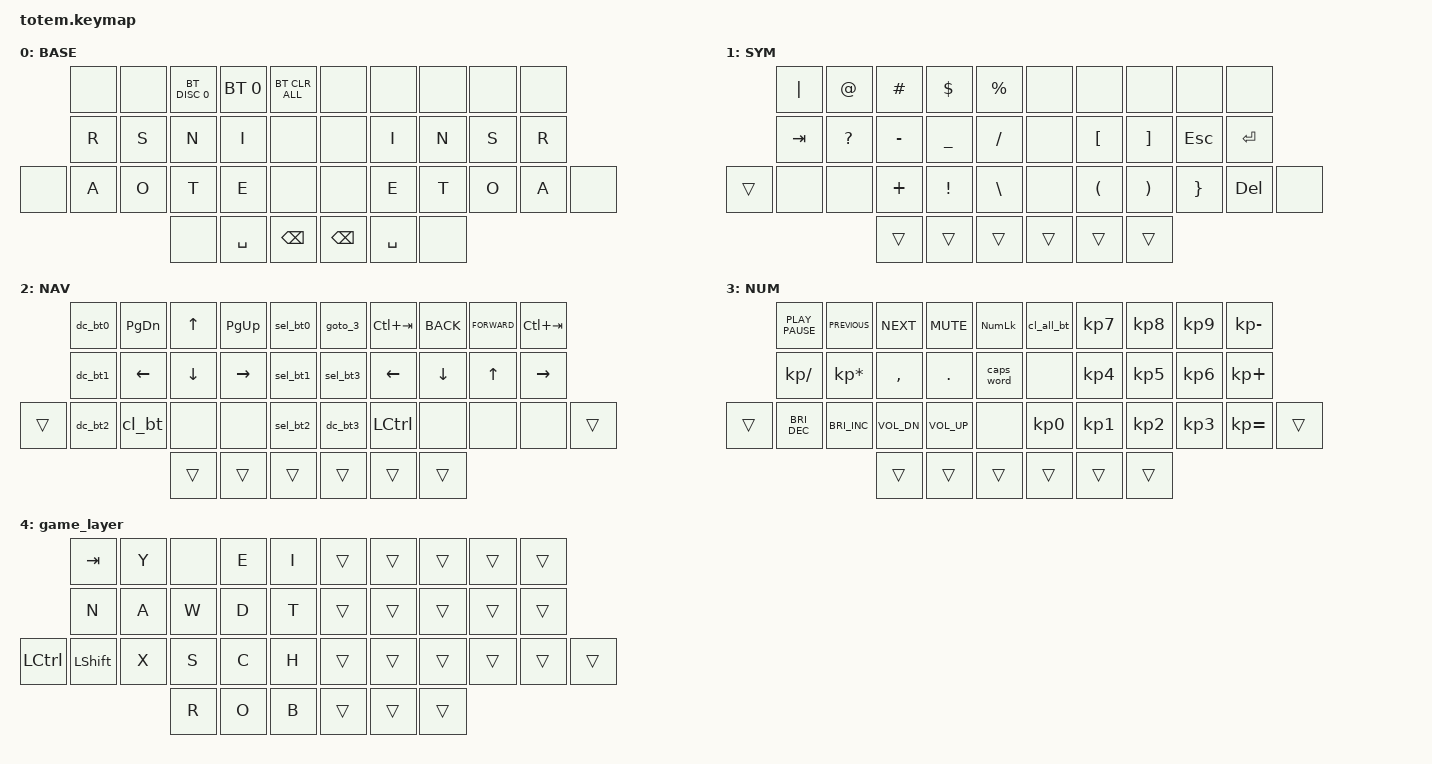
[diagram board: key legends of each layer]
//
//                                                        ▀▀▀▀▀     ▀▀▀▀▀          ▀▀█▀▀
//                                                        ▄▀▀▀▄  ▄  ▄▀▀▀▄  ▄  ▄▀▀▀▄  █  ▄▀▀▀▄
//                                                        █   █  █  █   █  █  █   █  █  █   █
//                                                         ▀▀▀   █   ▀▀▀   █   ▀▀▀   ▀   ▀▀▀
//                                                               █      ▄▄▄█▄▄▄    █   █  
//                                                               ▀      █  █  █     █▄█
//                                                             ▀▀▀▀▀    █  █  █      ▀
//                                                                      ▀  ▀  ▀
//
// ▄▄▄▄▄▄▄▄▄▄▄▄▄▄▄▄▄▄▄▄▄▄▄▄▄▄▄▄▄▄▄▄▄▄▄▄▄▄▄▄▄▄▄▄▄▄▄▄▄▄▄▄▄▄▄▄▄▄▄▄▄▄▄▄▄▄▄▄▄▄▄▄▄▄▄▄▄▄▄▄▄▄▄▄▄▄▄▄▄▄▄▄▄▄▄▄▄▄▄▄▄▄▄▄▄▄▄▄▄▄▄▄▄▄▄▄▄▄▄▄▄▄▄▄▄▄▄▄▄▄▄▄▄▄▄▄▄▄▄▄▄▄▄▄▄▄▄▄▄

#include <behaviors.dtsi>
#include <dt-bindings/zmk/bt.h>
#include <dt-bindings/zmk/keys.h>

#define BASE 0
#define NAV  1
#define SYM  2
#define ADJ  3
#define TVP1 4
#define TVP2 5

&mt {
    flavor = "tap-preferred";
    tapping-term-ms = <230>;
    quick-tap-ms = <0>;
    require-prior-idle-ms = <120>;
};

/ {
    combos {
        compatible = "zmk,combos";

        cr_y {
            bindings = <&kp Y>;
            key-positions = <16 17>;
            layers = <0>;
        };

        cr_b {
            bindings = <&kp B>;
            key-positions = <18 19>;
            layers = <0>;
        };

        cr_h {
            bindings = <&kp H>;
            key-positions = <27 28>;
            layers = <0>;
        };

        cr_l {
            bindings = <&kp L>;
            key-positions = <29 30>;
            layers = <0>;
        };

        cr_u {
            bindings = <&kp U>;
            key-positions = <28 29>;
            layers = <0>;
        };

        cr_p {
            bindings = <&kp P>;
            key-positions = <17 18>;
            layers = <0>;
        };

        cr_d {
            bindings = <&kp D>;
            key-positions = <27 30>;
            layers = <0>;
        };

        cr_g {
            bindings = <&kp G>;
            key-positions = <16 19>;
            layers = <0>;
        };

        cr_f {
            bindings = <&kp F>;
            key-positions = <16 18>;
            layers = <0>;
        };

        cr_z {
            bindings = <&kp Z>;
            key-positions = <19 17>;
            layers = <0>;
        };

        cr_c {
            bindings = <&kp C>;
            key-positions = <27 29>;
            layers = <0>;
        };

        cr_q {
            bindings = <&kp Q>;
            key-positions = <30 28>;
            layers = <0>;
        };

        cr_k {
            bindings = <&kp K>;
            key-positions = <16 29>;
            layers = <0>;
        };

        cr_x {
            bindings = <&kp X>;
            key-positions = <19 28>;
            layers = <0>;
        };

        cr_j {
            bindings = <&kp J>;
            key-positions = <30 17>;
            layers = <0>;
        };

        cr_v {
            bindings = <&kp V>;
            key-positions = <18 27>;
            layers = <0>;
        };

        cr_w {
            bindings = <&kp W>;
            key-positions = <16 30>;
            layers = <0>;
        };

        cr_m {
            bindings = <&kp M>;
            key-positions = <19 27>;
            layers = <0>;
        };

        cr_minus {
            bindings = <&kp MINUS>;
            key-positions = <17 29>;
            layers = <0>;
        };

        cr_slash {
            bindings = <&kp SLASH>;
            key-positions = <28 18>;
            layers = <0>;
        };

        cr_question {
            bindings = <&kp QUESTION>;
            key-positions = <16 28>;
            layers = <0>;
        };

        cr_semi {
            bindings = <&kp SEMICOLON>;
            key-positions = <19 29>;
            layers = <0>;
        };

        cr_apostrophe {
            bindings = <&kp APOSTROPHE>;
            key-positions = <30 18>;
            layers = <0>;
        };

        cr_comma {
            bindings = <&kp COMMA>;
            key-positions = <27 17>;
            layers = <0>;
        };

        cr_tab {
            bindings = <&kp TAB>;
            key-positions = <16 17 18>;
            layers = <0>;
        };

        cr_enter {
            bindings = <&kp ENTER>;
            key-positions = <27 28 29>;
            layers = <0>;
        };

        cl_y {
            bindings = <&kp Y>;
            key-positions = <13 12>;
        };

        cl_b {
            bindings = <&kp B>;
            key-positions = <10 11>;
        };

        cl_h {
            bindings = <&kp H>;
            key-positions = <24 23>;
        };

        cl_l {
            bindings = <&kp L>;
            key-positions = <21 22>;
        };

        cl_u {
            bindings = <&kp U>;
            key-positions = <23 22>;
        };

        cl_p {
            bindings = <&kp P>;
            key-positions = <11 12>;
        };

        cl_d {
            bindings = <&kp D>;
            key-positions = <24 21>;
        };

        cl_g {
            bindings = <&kp G>;
            key-positions = <10 13>;
        };

        cl_f {
            bindings = <&kp F>;
            key-positions = <13 11>;
        };

        cl_z {
            bindings = <&kp Z>;
            key-positions = <10 12>;
        };

        cl_c {
            bindings = <&kp C>;
            key-positions = <24 22>;
        };

        cl_q {
            bindings = <&kp Q>;
            key-positions = <21 23>;
        };

        cl_k {
            bindings = <&kp K>;
            key-positions = <22 13>;
        };

        cl_x {
            bindings = <&kp X>;
            key-positions = <10 23>;
        };

        cl_j {
            bindings = <&kp J>;
            key-positions = <21 12>;
        };

        cl_v {
            bindings = <&kp V>;
            key-positions = <24 11>;
        };

        cl_w {
            bindings = <&kp W>;
            key-positions = <21 13>;
        };

        cl_m {
            bindings = <&kp M>;
            key-positions = <10 24>;
        };

        cl_minus {
            bindings = <&kp MINUS>;
            key-positions = <22 12>;
        };

        cl_slash {
            bindings = <&kp SLASH>;
            key-positions = <23 11>;
        };

        cl_question {
            bindings = <&kp QUESTION>;
            key-positions = <13 23>;
        };

        cl_semi {
            bindings = <&kp SEMICOLON>;
            key-positions = <10 22>;
        };

        cl_apostrophe {
            bindings = <&kp APOSTROPHE>;
            key-positions = <21 11>;
        };

        cl_comma {
            bindings = <&kp COMMA>;
            key-positions = <24 12>;
        };

        cl_tab {
            bindings = <&kp TAB>;
            key-positions = <13 12 11>;
        };

        cl_enter {
            bindings = <&kp ENTER>;
            key-positions = <24 23 22>;
        };
    };

    behaviors {
        sel_bt0: sel_bt0 {
            compatible = "zmk,behavior-mod-morph";
            label = "SEL_BT0";
            bindings = <&none>, <&bt BT_SEL 0>;

            #binding-cells = <0>;
            mods = <(MOD_LCTL)>;
        };

        sel_bt1: sel_bt1 {
            compatible = "zmk,behavior-mod-morph";
            label = "SEL_BT1";
            bindings = <&none>, <&bt BT_SEL 1>;

            #binding-cells = <0>;
            mods = <(MOD_LCTL)>;
        };

        sel_bt2: sel_bt2 {
            compatible = "zmk,behavior-mod-morph";
            label = "SEL_BT2";
            bindings = <&none>, <&bt BT_SEL 2>;

            #binding-cells = <0>;
            mods = <(MOD_LCTL)>;
        };

        dc_bt0: dc_bt0 {
            compatible = "zmk,behavior-mod-morph";
            label = "DC_BT0";
            bindings = <&none>, <&bt BT_DISC 0>;

            #binding-cells = <0>;
            mods = <(MOD_LCTL|MOD_LSFT)>;
        };

        dc_bt1: dc_bt1 {
            compatible = "zmk,behavior-mod-morph";
            label = "DC_BT1";
            bindings = <&none>, <&bt BT_DISC 1>;

            #binding-cells = <0>;
            mods = <(MOD_LCTL|MOD_LSFT)>;
        };

        dc_bt2: dc_bt2 {
            compatible = "zmk,behavior-mod-morph";
            label = "DC_BT2";
            bindings = <&none>, <&bt BT_DISC 2>;

            #binding-cells = <0>;
            mods = <(MOD_LCTL|MOD_LSFT)>;
        };

        cl_bt: cl_bt {
            compatible = "zmk,behavior-mod-morph";
            label = "CL_BT";
            bindings = <&none>, <&bt BT_CLR>;

            #binding-cells = <0>;
            mods = <(MOD_LCTL|MOD_LSFT)>;
        };

        sel_bt3: sel_bt3 {
            compatible = "zmk,behavior-mod-morph";
            label = "SEL_BT3";
            bindings = <&none>, <&bt BT_SEL 2>;

            #binding-cells = <0>;
            mods = <(MOD_LCTL)>;
        };

        dc_bt3: dc_bt3 {
            compatible = "zmk,behavior-mod-morph";
            label = "DC_BT3";
            bindings = <&none>, <&bt BT_DISC 2>;

            #binding-cells = <0>;
            mods = <(MOD_LCTL|MOD_LSFT)>;
        };

        goto_3: goto_3 {
            compatible = "zmk,behavior-mod-morph";
            label = "GOTO_3";
            bindings = <&none>, <&bt BT_SEL 3>;

            #binding-cells = <0>;
            mods = <(MOD_LCTL)>;
        };

        cl_all_bt: cl_all_bt {
            compatible = "zmk,behavior-mod-morph";
            label = "CL_ALL_BT";
            bindings = <&none>, <&bt BT_CLR_ALL>;

            #binding-cells = <0>;
            mods = <(MOD_LCTL|MOD_LSFT)>;
        };
    };

    keymap {
        compatible = "zmk,keymap";

        // ▄▄▄▄▄▄▄▄▄▄▄▄▄▄▄▄▄▄▄▄▄▄▄▄▄▄▄▄▄▄▄▄▄▄▄▄▄▄▄▄▄▄▄▄▄▄▄▄▄▄▄▄▄▄▄▄▄▄▄▄▄▄▄▄▄▄▄▄▄▄▄▄▄▄▄▄▄▄▄▄▄▄▄▄▄▄▄▄▄▄▄▄▄▄▄▄▄▄▄▄▄▄▄▄▄▄▄▄▄▄▄▄▄▄▄▄▄▄▄▄▄▄▄▄▄▄▄▄▄▄▄▄▄▄▄▄▄▄▄▄▄▄▄▄▄▄▄▄▄

        base_layer {
            // ┏━━━━━━━━━━━━━━━━━━━━━━━━━━━━━━━━━━━━━━━┓

            label = "BASE";

            // ┗━━━━━━━━━━━━━━━━━━━━━━━━━━━━━━━━━━━━━━━┛
            //             ┏━━━━━━━━━━━┳━━━━━━━━━━━┳━━━━━━━━━━━┳━━━━━━━━━━━┳━━━━━━━━━━━┓   ┏━━━━━━━━━━━┳━━━━━━━━━━━┳━━━━━━━━━━━┳━━━━━━━━━━━┳━━━━━━━━━━━┓
            //             ┃     Q     ┃     W     ┃     F     ┃     P     ┃     G     ┃   ┃     J     ┃     L     ┃     U     ┃     Y     ┃     ;     ┃
            //             ┣━━━━━━━━━━━╋━━━━━━━━━━━╋━━━━━━━━━━━╋━━━━━━━━━━━╋━━━━━━━━━━━┫   ┣━━━━━━━━━━━╋━━━━━━━━━━━╋━━━━━━━━━━━╋━━━━━━━━━━━╋━━━━━━━━━━━┫
            //             ┃     A     ┃     R     ┃     S     ┃     T     ┃     D     ┃   ┃     H     ┃     N     ┃     E     ┃     I     ┃     O     ┃
            // ┏━━━━━━━━━━━╋━━━━━━━━━━━╋━━━━━━━━━━━╋━━━━━━━━━━━╋━━━━━━━━━━━╋━━━━━━━━━━━┫   ┣━━━━━━━━━━━╋━━━━━━━━━━━╋━━━━━━━━━━━╋━━━━━━━━━━━╋━━━━━━━━━━━╋━━━━━━━━━━━┓
            // ┃     Q     ┃     Z     ┃     X     ┃     C     ┃     V     ┃     B     ┃   ┃     K     ┃     M     ┃     ,     ┃     .     ┃     /     ┃     \     ┃
            // ┗━━━━━━━━━━━┻━━━━━━━━━━━┻━━━━━━━━━━━╋━━━━━━━━━━━╋━━━━━━━━━━━╋━━━━━━━━━━━┫   ┣━━━━━━━━━━━╋━━━━━━━━━━━╋━━━━━━━━━━━╋━━━━━━━━━━━┻━━━━━━━━━━━┻━━━━━━━━━━━┛
            //                                     ┃    DEL    ┃    TAB    ┃    SPC    ┃   ┃   ENTER   ┃           ┃   BSPC    ┃
            //                                     ┗━━━━━━━━━━━┻━━━━━━━━━━━┻━━━━━━━━━━━┛   ┗━━━━━━━━━━━┻━━━━━━━━━━━┻━━━━━━━━━━━┛

            bindings = <
       &none  &none  &bt BT_DISC 0  &bt BT_SEL 0  &bt BT_CLR_ALL    &none          &none      &none  &none  &none
       &kp R  &kp S  &kp N          &kp I         &none             &none          &kp I      &kp N  &kp S  &kp R
&none  &kp A  &kp O  &kp T          &kp E         &none             &none          &kp E      &kp T  &kp O  &kp A  &none
                     &none          &kp SPACE     &kp BACKSPACE     &kp BACKSPACE  &kp SPACE  &none
            >;
        };

        // ▄▄▄▄▄▄▄▄▄▄▄▄▄▄▄▄▄▄▄▄▄▄▄▄▄▄▄▄▄▄▄▄▄▄▄▄▄▄▄▄▄▄▄▄▄▄▄▄▄▄▄▄▄▄▄▄▄▄▄▄▄▄▄▄▄▄▄▄▄▄▄▄▄▄▄▄▄▄▄▄▄▄▄▄▄▄▄▄▄▄▄▄▄▄▄▄▄▄▄▄▄▄▄▄▄▄▄▄▄▄▄▄▄▄▄▄▄▄▄▄▄▄▄▄▄▄▄▄▄▄▄▄▄▄▄▄▄▄▄▄▄▄▄▄▄▄▄▄▄

        inner_layer {
            // ┏━━━━━━━━━━━━━━━━━━━━━━━━━━━━━━━━━━━━━━━┓

            label = "SYM";

            // ┗━━━━━━━━━━━━━━━━━━━━━━━━━━━━━━━━━━━━━━━┛
            //             ┏━━━━━━━━━━━┳━━━━━━━━━━━┳━━━━━━━━━━━┳━━━━━━━━━━━┳━━━━━━━━━━━┓   ┏━━━━━━━━━━━┳━━━━━━━━━━━┳━━━━━━━━━━━┳━━━━━━━━━━━┳━━━━━━━━━━━┓
            //             ┃           ┃           ┃     UP    ┃           ┃     {     ┃   ┃     }     ┃     7     ┃     8     ┃     9     ┃     +     ┃
            //             ┣━━━━━━━━━━━╋━━━━━━━━━━━╋━━━━━━━━━━━╋━━━━━━━━━━━╋━━━━━━━━━━━┫   ┣━━━━━━━━━━━╋━━━━━━━━━━━╋━━━━━━━━━━━╋━━━━━━━━━━━╋━━━━━━━━━━━┫
            //             ┃   SHIFT   ┃   LEFT    ┃    DOWN   ┃   RIGHT   ┃     [     ┃   ┃     ]     ┃     4     ┃     5     ┃     6     ┃     -     ┃
            // ┏━━━━━━━━━━━╋━━━━━━━━━━━╋━━━━━━━━━━━╋━━━━━━━━━━━╋━━━━━━━━━━━╋━━━━━━━━━━━┫   ┣━━━━━━━━━━━╋━━━━━━━━━━━╋━━━━━━━━━━━╋━━━━━━━━━━━╋━━━━━━━━━━━╋━━━━━━━━━━━┓
            // ┃           ┃           ┃   P UP    ┃  C LOCK   ┃  P DOWN   ┃     (     ┃   ┃     )     ┃     1     ┃     2     ┃     3     ┃     *     ┃           ┃
            // ┗━━━━━━━━━━━┻━━━━━━━━━━━┻━━━━━━━━━━━╋━━━━━━━━━━━╋━━━━━━━━━━━╋━━━━━━━━━━━┫   ┣━━━━━━━━━━━╋━━━━━━━━━━━╋━━━━━━━━━━━╋━━━━━━━━━━━┻━━━━━━━━━━━┻━━━━━━━━━━━┛
            //                                     ┃           ┃    TAB    ┃    SPC    ┃   ┃    DEL    ┃     0     ┃           ┃
            //                                     ┗━━━━━━━━━━━┻━━━━━━━━━━━┻━━━━━━━━━━━┛   ┗━━━━━━━━━━━┻━━━━━━━━━━━┻━━━━━━━━━━━┛

            bindings = <
        &kp PIPE  &kp AT        &kp HASH   &kp DOLLAR      &kp PERCENT      &none   &none             &none              &none     &none
        &kp TAB   &kp QUESTION  &kp MINUS  &kp UNDERSCORE  &kp SLASH        &none   &kp LEFT_BRACKET  &kp RIGHT_BRACKET  &kp ESC   &kp ENTER
&trans  &none     &none         &kp PLUS   &kp EXCL        &kp BACKSLASH    &none   &kp LPAR          &kp RPAR           &kp RBRC  &kp DEL    &none
                                &trans     &trans          &trans           &trans  &trans            &trans
            >;
        };

        // ▄▄▄▄▄▄▄▄▄▄▄▄▄▄▄▄▄▄▄▄▄▄▄▄▄▄▄▄▄▄▄▄▄▄▄▄▄▄▄▄▄▄▄▄▄▄▄▄▄▄▄▄▄▄▄▄▄▄▄▄▄▄▄▄▄▄▄▄▄▄▄▄▄▄▄▄▄▄▄▄▄▄▄▄▄▄▄▄▄▄▄▄▄▄▄▄▄▄▄▄▄▄▄▄▄▄▄▄▄▄▄▄▄▄▄▄▄▄▄▄▄▄▄▄▄▄▄▄▄▄▄▄▄▄▄▄▄▄▄▄▄▄▄▄▄▄▄▄▄

        nav_layer {
            // ┏━━━━━━━━━━━━━━━━━━━━━━━━━━━━━━━━━━━━━━━┓

            label = "NAV";

            // ┗━━━━━━━━━━━━━━━━━━━━━━━━━━━━━━━━━━━━━━━┛
            //             ┏━━━━━━━━━━━┳━━━━━━━━━━━┳━━━━━━━━━━━┳━━━━━━━━━━━┳━━━━━━━━━━━┓   ┏━━━━━━━━━━━┳━━━━━━━━━━━┳━━━━━━━━━━━┳━━━━━━━━━━━┳━━━━━━━━━━━┓
            //             ┃     !     ┃     @     ┃     #     ┃     $     ┃     %     ┃   ┃     ˆ     ┃     &     ┃     Ü     ┃     '     ┃     "     ┃
            //             ┣━━━━━━━━━━━╋━━━━━━━━━━━╋━━━━━━━━━━━╋━━━━━━━━━━━╋━━━━━━━━━━━┫   ┣━━━━━━━━━━━╋━━━━━━━━━━━╋━━━━━━━━━━━╋━━━━━━━━━━━╋━━━━━━━━━━━┫
            //             ┃     Ä     ┃           ┃    SZ     ┃           ┃           ┃   ┃   MUTE    ┃   YEN     ┃   EURO    ┃  POUND    ┃     Ö     ┃
            // ┏━━━━━━━━━━━╋━━━━━━━━━━━╋━━━━━━━━━━━╋━━━━━━━━━━━╋━━━━━━━━━━━╋━━━━━━━━━━━┫   ┣━━━━━━━━━━━╋━━━━━━━━━━━╋━━━━━━━━━━━╋━━━━━━━━━━━╋━━━━━━━━━━━╋━━━━━━━━━━━┓
            // ┃           ┃  EMAIL1   ┃  EMAIL2   ┃           ┃           ┃           ┃   ┃   VOL-    ┃   VOL+    ┃   LAST    ┃   NEXT    ┃     \     ┃           ┃
            // ┗━━━━━━━━━━━┻━━━━━━━━━━━┻━━━━━━━━━━━╋━━━━━━━━━━━╋━━━━━━━━━━━╋━━━━━━━━━━━┫   ┣━━━━━━━━━━━╋━━━━━━━━━━━╋━━━━━━━━━━━╋━━━━━━━━━━━┻━━━━━━━━━━━┻━━━━━━━━━━━┛
            //                                     ┃           ┃    GIF    ┃    ADJ    ┃   ┃           ┃           ┃           ┃
            //                                     ┗━━━━━━━━━━━┻━━━━━━━━━━━┻━━━━━━━━━━━┛   ┗━━━━━━━━━━━┻━━━━━━━━━━━┻━━━━━━━━━━━┛

            bindings = <
        &dc_bt0  &kp PG_DN  &kp UP    &kp PG_UP  &sel_bt0    &goto_3   &kp LC(TAB)  &kp K_BACK  &kp K_FORWARD  &kp LC(TAB)
        &dc_bt1  &kp LEFT   &kp DOWN  &kp RIGHT  &sel_bt1    &sel_bt3  &kp LEFT     &kp DOWN    &kp UP         &kp RIGHT
&trans  &dc_bt2  &cl_bt     &none     &none      &sel_bt2    &dc_bt3   &kp LCTRL    &none       &none          &none        &trans
                            &trans    &trans     &trans      &trans    &trans       &trans
            >;
        };

        // ▄▄▄▄▄▄▄▄▄▄▄▄▄▄▄▄▄▄▄▄▄▄▄▄▄▄▄▄▄▄▄▄▄▄▄▄▄▄▄▄▄▄▄▄▄▄▄▄▄▄▄▄▄▄▄▄▄▄▄▄▄▄▄▄▄▄▄▄▄▄▄▄▄▄▄▄▄▄▄▄▄▄▄▄▄▄▄▄▄▄▄▄▄▄▄▄▄▄▄▄▄▄▄▄▄▄▄▄▄▄▄▄▄▄▄▄▄▄▄▄▄▄▄▄▄▄▄▄▄▄▄▄▄▄▄▄▄▄▄▄▄▄▄▄▄▄▄▄▄

        num_layer {
            // ┏━━━━━━━━━━━━━━━━━━━━━━━━━━━━━━━━━━━━━━━┓

            label = "NUM";

            // ┗━━━━━━━━━━━━━━━━━━━━━━━━━━━━━━━━━━━━━━━┛
            //             ┏━━━━━━━━━━━┳━━━━━━━━━━━┳━━━━━━━━━━━┳━━━━━━━━━━━┳━━━━━━━━━━━┓   ┏━━━━━━━━━━━┳━━━━━━━━━━━┳━━━━━━━━━━━┳━━━━━━━━━━━┳━━━━━━━━━━━┓
            //             ┃   RESET   ┃ BT CLEAR  ┃  OUT TOG  ┃           ┃           ┃   ┃           ┃    F7     ┃    F8     ┃    F9     ┃    F12    ┃
            //             ┣━━━━━━━━━━━╋━━━━━━━━━━━╋━━━━━━━━━━━╋━━━━━━━━━━━╋━━━━━━━━━━━┫   ┣━━━━━━━━━━━╋━━━━━━━━━━━╋━━━━━━━━━━━╋━━━━━━━━━━━╋━━━━━━━━━━━┫
            //             ┃ BOOTLOAD  ┃ BT NEXT   ┃           ┃           ┃           ┃   ┃           ┃    F4     ┃    F5     ┃    F6     ┃    F11    ┃
            // ┏━━━━━━━━━━━╋━━━━━━━━━━━╋━━━━━━━━━━━╋━━━━━━━━━━━╋━━━━━━━━━━━╋━━━━━━━━━━━┫   ┣━━━━━━━━━━━╋━━━━━━━━━━━╋━━━━━━━━━━━╋━━━━━━━━━━━╋━━━━━━━━━━━╋━━━━━━━━━━━┓
            // ┃           ┃           ┃ BT PREV   ┃           ┃           ┃           ┃   ┃           ┃    F1     ┃    F2     ┃    F3     ┃    F10    ┃           ┃
            // ┗━━━━━━━━━━━┻━━━━━━━━━━━┻━━━━━━━━━━━╋━━━━━━━━━━━╋━━━━━━━━━━━╋━━━━━━━━━━━┫   ┣━━━━━━━━━━━╋━━━━━━━━━━━╋━━━━━━━━━━━╋━━━━━━━━━━━┻━━━━━━━━━━━┻━━━━━━━━━━━┛
            //                                     ┃           ┃           ┃           ┃   ┃           ┃           ┃           ┃
            //                                     ┗━━━━━━━━━━━┻━━━━━━━━━━━┻━━━━━━━━━━━┛   ┗━━━━━━━━━━━┻━━━━━━━━━━━┻━━━━━━━━━━━┛

            bindings = <
        &kp K_PLAY_PAUSE      &kp K_PREVIOUS   &kp K_NEXT    &kp K_MUTE       &kp KP_NUMLOCK    &cl_all_bt       &kp KP_NUMBER_7  &kp KP_NUMBER_8  &kp KP_NUMBER_9  &kp KP_MINUS
        &kp KP_DIVIDE         &kp KP_ASTERISK  &kp COMMA     &kp DOT          &caps_word        &none            &kp KP_NUMBER_4  &kp KP_NUMBER_5  &kp KP_NUMBER_6  &kp KP_PLUS
&trans  &kp C_BRIGHTNESS_DEC  &kp C_BRI_INC    &kp C_VOL_DN  &kp C_VOLUME_UP  &none             &kp KP_NUMBER_0  &kp KP_NUMBER_1  &kp KP_N2        &kp KP_NUMBER_3  &kp KP_EQUAL  &trans
                                               &trans        &trans           &trans            &trans           &trans           &trans
            >;
        };

        game_layer {
            bindings = <
           &kp TAB         &kp Y  &none  &kp E  &kp I    &trans  &trans  &trans  &trans  &trans
           &kp N           &kp A  &kp W  &kp D  &kp T    &trans  &trans  &trans  &trans  &trans
&kp LCTRL  &kp LEFT_SHIFT  &kp X  &kp S  &kp C  &kp H    &trans  &trans  &trans  &trans  &trans  &trans
                                  &kp R  &kp O  &kp B    &trans  &trans  &trans
            >;
        };

        // ▄▄▄▄▄▄▄▄▄▄▄▄▄▄▄▄▄▄▄▄▄▄▄▄▄▄▄▄▄▄▄▄▄▄▄▄▄▄▄▄▄▄▄▄▄▄▄▄▄▄▄▄▄▄▄▄▄▄▄▄▄▄▄▄▄▄▄▄▄▄▄▄▄▄▄▄▄▄▄▄▄▄▄▄▄▄▄▄▄▄▄▄▄▄▄▄▄▄▄▄▄▄▄▄▄▄▄▄▄▄▄▄▄▄▄▄▄▄▄▄▄▄▄▄▄▄▄▄▄▄▄▄▄▄▄▄▄▄▄▄▄▄▄▄▄▄▄▄▄
        // ▄▄▄▄▄▄▄▄▄▄▄▄▄▄▄▄▄▄▄▄▄▄▄▄▄▄▄▄▄▄▄▄▄▄▄▄▄▄▄▄▄▄▄▄▄▄▄▄▄▄▄▄▄▄▄▄▄▄▄▄▄▄▄▄▄▄▄▄▄▄▄▄▄▄▄▄▄▄▄▄▄▄▄▄▄▄▄▄▄▄▄▄▄▄▄▄▄▄▄▄▄▄▄▄▄▄▄▄▄▄▄▄▄▄▄▄▄▄▄▄▄▄▄▄▄▄▄▄▄▄▄▄▄▄▄▄▄▄▄▄▄▄▄▄▄▄▄▄▄
    };

    conditional_layers {
        compatible = "zmk,conditional-layers";

        ThirdLayer {
            if-layers = <1 2>;
            then-layer = <3>;
        };
    };
};
